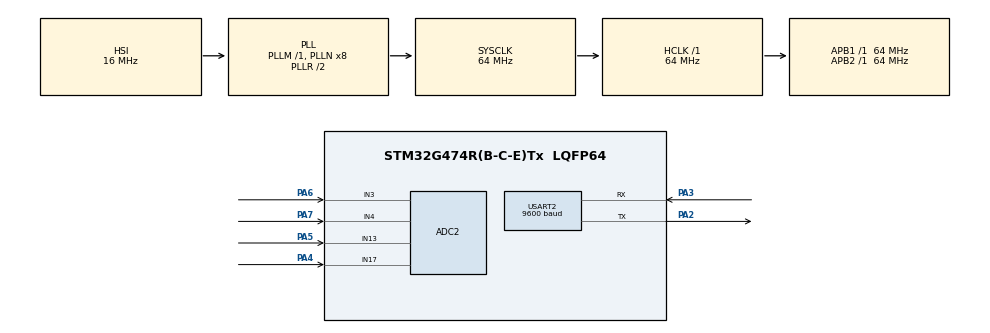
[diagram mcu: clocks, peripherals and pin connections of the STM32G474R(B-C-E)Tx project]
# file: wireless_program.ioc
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ADC2.Channel-0\#ChannelRegularConversion=ADC_CHANNEL_17
ADC2.Channel-1\#ChannelRegularConversion=ADC_CHANNEL_3
ADC2.Channel-2\#ChannelRegularConversion=ADC_CHANNEL_4
ADC2.Channel-3\#ChannelRegularConversion=ADC_CHANNEL_13
ADC2.EOCSelection=ADC_EOC_SEQ_CONV
ADC2.NbrOfConversion=4
ADC2.NbrOfConversionFlag=1
ADC2.OffsetNumber-0\#ChannelRegularConversion=ADC_OFFSET_NONE
ADC2.OffsetNumber-1\#ChannelRegularConversion=ADC_OFFSET_NONE
ADC2.OffsetNumber-2\#ChannelRegularConversion=ADC_OFFSET_NONE
ADC2.OffsetNumber-3\#ChannelRegularConversion=ADC_OFFSET_NONE
ADC2.Overrun=ADC_OVR_DATA_OVERWRITTEN
ADC2.Rank-0\#ChannelRegularConversion=1
ADC2.Rank-1\#ChannelRegularConversion=2
ADC2.Rank-2\#ChannelRegularConversion=3
ADC2.Rank-3\#ChannelRegularConversion=4
ADC2.SamplingTime-0\#ChannelRegularConversion=ADC_SAMPLETIME_2CYCLES_5
ADC2.SamplingTime-1\#ChannelRegularConversion=ADC_SAMPLETIME_2CYCLES_5
ADC2.SamplingTime-2\#ChannelRegularConversion=ADC_SAMPLETIME_2CYCLES_5
ADC2.SamplingTime-3\#ChannelRegularConversion=ADC_SAMPLETIME_2CYCLES_5
Dma.ADC2.0.Direction=DMA_PERIPH_TO_MEMORY
Dma.ADC2.0.EventEnable=DISABLE
Dma.ADC2.0.Instance=DMA1_Channel1
Dma.ADC2.0.MemDataAlignment=DMA_MDATAALIGN_HALFWORD
Dma.ADC2.0.MemInc=DMA_MINC_ENABLE
Dma.ADC2.0.Mode=DMA_NORMAL
Dma.ADC2.0.PeriphDataAlignment=DMA_PDATAALIGN_HALFWORD
Dma.ADC2.0.PeriphInc=DMA_PINC_DISABLE
Dma.ADC2.0.Polarity=HAL_DMAMUX_REQ_GEN_RISING
Dma.ADC2.0.Priority=DMA_PRIORITY_LOW
Dma.ADC2.0.RequestNumber=1
Dma.ADC2.0.SignalID=NONE
Dma.ADC2.0.SyncEnable=DISABLE
Dma.ADC2.0.SyncPolarity=HAL_DMAMUX_SYNC_NO_EVENT
Dma.ADC2.0.SyncRequestNumber=1
Dma.ADC2.0.SyncSignalID=NONE
Dma.Request0=ADC2
Mcu.Family=STM32G4
Mcu.Name=STM32G474R(B-C-E)Tx
Mcu.Package=LQFP64
NVIC.DMA1_Channel1_IRQn=true\:0\:0\:false\:false\:true\:false\:true\:true
NVIC.PriorityGroup=NVIC_PRIORITYGROUP_4
NVIC.USART2_IRQn=true\:0\:0\:false\:false\:true\:true\:true\:true
PA2.Mode=Asynchronous
PA2.Signal=USART2_TX
PA3.Mode=Asynchronous
PA3.Signal=USART2_RX
PA4.Mode=IN17-Single-Ended
PA4.Signal=ADC2_IN17
PA5.Mode=IN13-Single-Ended
PA5.Signal=ADC2_IN13
PA6.Mode=IN3-Single-Ended
PA6.Signal=ADC2_IN3
PA7.Mode=IN4-Single-Ended
PA7.Signal=ADC2_IN4
ProjectManager.HeapSize=0x200
ProjectManager.StackSize=0x400
ProjectManager.TargetToolchain=STM32CubeIDE
RCC.ADC12Freq_Value=64000000
RCC.ADC345Freq_Value=64000000
RCC.AHBFreq_Value=64000000
RCC.APB1Freq_Value=64000000
RCC.APB1TimFreq_Value=64000000
RCC.APB2Freq_Value=64000000
RCC.APB2TimFreq_Value=64000000
RCC.CortexFreq_Value=64000000
RCC.EXTERNAL_CLOCK_VALUE=12288000
RCC.HCLKFreq_Value=64000000
RCC.HSE_VALUE=8000000
RCC.HSI48_VALUE=48000000
RCC.HSI_VALUE=16000000
RCC.LSE_VALUE=32768
RCC.SYSCLKFreq_VALUE=64000000
RCC.SYSCLKSource=RCC_SYSCLKSOURCE_PLLCLK
RCC.USBFreq_Value=64000000
RCC.VCOOutputFreq_Value=128000000
USART2.BaudRate=9600
USART2.VirtualMode-Asynchronous=VM_ASYNC
VP_SYS_VS_DBSignals.Mode=DisableDeadBatterySignals
board=custom

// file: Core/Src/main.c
/* USER CODE BEGIN Header */
/**
  ******************************************************************************
  * @file           : main.c
  * @brief          : Main program body
  ******************************************************************************
  * @attention
  *
  * Copyright (c) 2025 STMicroelectronics.
  * All rights reserved.
  *
  * This software is licensed under terms that can be found in the LICENSE file
  * in the root directory of this software component.
  * If no LICENSE file comes with this software, it is provided AS-IS.
  *
  ******************************************************************************
  */
/* USER CODE END Header */
#include "main.h"

/* USER CODE BEGIN PTD */

uint16_t adc_val[4];
int h;
float temperature;
float Rt;
float Vout;
float voltage;
float R_thermistor;
float temperatureK;
float temperatureC;

#define VCC 3.3
#define R_PULL 10000.0
#define BETA 3435.0

#define T25 298.15
float beta_val=4304.05;
/* USER CODE END PTD */

/* USER CODE BEGIN PM */
float Temp;
float temp1_arr[2];
/* USER CODE END PM */

ADC_HandleTypeDef hadc2;
DMA_HandleTypeDef hdma_adc2;

UART_HandleTypeDef huart2;

void SystemClock_Config(void);
static void MX_GPIO_Init(void);
static void MX_DMA_Init(void);
static void MX_USART2_UART_Init(void);
static void MX_ADC2_Init(void);

/* USER CODE BEGIN 0 */
float getTemp(uint16_t a){
	float adc_val3;
 	float beta_val=4304.05;
	float Vin= 3.3;
	float Rs=4700.00;
	float R25=32762.00;

	  adc_val3 = a; // GET THE ADC VALUE
	  Vout = adc_val3 * (Vin/4095.00);     //4095 = 12 BIT RESOLUTION
	  Rt = (Vout * Rs) / (Vin - Vout);
	  temperature = (1/((1/298.15)+(log(Rt/R25)/beta_val))-272.5-3);

		return temperature;

}

/* USER CODE END 0 */

int main(void)
{SCB->VTOR = 0x08008000;

  /* MCU Configuration--------------------------------------------------------*/

  /* Reset of all peripherals, Initializes the Flash interface and the Systick. */
  HAL_Init();

  /* Configure the system clock */
  SystemClock_Config();

  /* Initialize all configured peripherals */
  MX_GPIO_Init();
  MX_DMA_Init();
  MX_USART2_UART_Init();
  MX_ADC2_Init();
  /* USER CODE BEGIN 2 */
  HAL_Delay(1000);
  /* USER CODE END 2 */

  /* Infinite loop */
  while (1)
  {

    /* USER CODE BEGIN 3 */

	    HAL_ADC_Stop_DMA(&hadc2);
	    HAL_ADC_Start_DMA(&hadc2, (uint32_t*)adc_val, 4);
	    Temp = getTemp(adc_val[0]);

	    char msg[32];
	    int len = snprintf(msg, sizeof(msg), "Temp: %.2f C\n", Temp);
	    HAL_UART_Transmit(&huart2, (uint8_t*)msg, len, HAL_MAX_DELAY);
	    h++;
	    HAL_Delay(1000); // 1 second delay
  }
  /* USER CODE END 3 */
}

void SystemClock_Config(void)
{

  RCC_OscInitTypeDef RCC_OscInitStruct = {0};
  RCC_ClkInitTypeDef RCC_ClkInitStruct = {0};

  /** Configure the main internal regulator output voltage
  */
  HAL_PWREx_ControlVoltageScaling(PWR_REGULATOR_VOLTAGE_SCALE1);

  /** Initializes the RCC Oscillators according to the specified parameters
  * in the RCC_OscInitTypeDef structure.
  */
  RCC_OscInitStruct.OscillatorType = RCC_OSCILLATORTYPE_HSI;
  RCC_OscInitStruct.HSIState = RCC_HSI_ON;
  RCC_OscInitStruct.HSICalibrationValue = RCC_HSICALIBRATION_DEFAULT;
  RCC_OscInitStruct.PLL.PLLState = RCC_PLL_ON;
  RCC_OscInitStruct.PLL.PLLSource = RCC_PLLSOURCE_HSI;
  RCC_OscInitStruct.PLL.PLLM = RCC_PLLM_DIV1;
  RCC_OscInitStruct.PLL.PLLN = 8;
  RCC_OscInitStruct.PLL.PLLP = RCC_PLLP_DIV2;
  RCC_OscInitStruct.PLL.PLLQ = RCC_PLLQ_DIV2;
  RCC_OscInitStruct.PLL.PLLR = RCC_PLLR_DIV2;
  if (HAL_RCC_OscConfig(&RCC_OscInitStruct) != HAL_OK)
  {
    Error_Handler();
  }

  /** Initializes the CPU, AHB and APB buses clocks
  */
  RCC_ClkInitStruct.ClockType = RCC_CLOCKTYPE_HCLK|RCC_CLOCKTYPE_SYSCLK
                              |RCC_CLOCKTYPE_PCLK1|RCC_CLOCKTYPE_PCLK2;
  RCC_ClkInitStruct.SYSCLKSource = RCC_SYSCLKSOURCE_PLLCLK;
  RCC_ClkInitStruct.AHBCLKDivider = RCC_SYSCLK_DIV1;
  RCC_ClkInitStruct.APB1CLKDivider = RCC_HCLK_DIV1;
  RCC_ClkInitStruct.APB2CLKDivider = RCC_HCLK_DIV1;

  if (HAL_RCC_ClockConfig(&RCC_ClkInitStruct, FLASH_LATENCY_2) != HAL_OK)
  {
    Error_Handler();
  }
}

static void MX_ADC2_Init(void)
{

  ADC_ChannelConfTypeDef sConfig = {0};

  /** Common config
  */
  hadc2.Instance = ADC2;
  hadc2.Init.ClockPrescaler = ADC_CLOCK_SYNC_PCLK_DIV2;
  hadc2.Init.Resolution = ADC_RESOLUTION_12B;
  hadc2.Init.DataAlign = ADC_DATAALIGN_RIGHT;
  hadc2.Init.GainCompensation = 0;
  hadc2.Init.ScanConvMode = ADC_SCAN_ENABLE;
  hadc2.Init.EOCSelection = ADC_EOC_SEQ_CONV;
  hadc2.Init.LowPowerAutoWait = DISABLE;
  hadc2.Init.ContinuousConvMode = DISABLE;
  hadc2.Init.NbrOfConversion = 4;
  hadc2.Init.DiscontinuousConvMode = DISABLE;
  hadc2.Init.ExternalTrigConv = ADC_SOFTWARE_START;
  hadc2.Init.ExternalTrigConvEdge = ADC_EXTERNALTRIGCONVEDGE_NONE;
  hadc2.Init.DMAContinuousRequests = DISABLE;
  hadc2.Init.Overrun = ADC_OVR_DATA_OVERWRITTEN;
  hadc2.Init.OversamplingMode = DISABLE;
  if (HAL_ADC_Init(&hadc2) != HAL_OK)
  {
    Error_Handler();
  }

  /** Configure Regular Channel
  */
  sConfig.Channel = ADC_CHANNEL_17;
  sConfig.Rank = ADC_REGULAR_RANK_1;
  sConfig.SamplingTime = ADC_SAMPLETIME_2CYCLES_5;
  sConfig.SingleDiff = ADC_SINGLE_ENDED;
  sConfig.OffsetNumber = ADC_OFFSET_NONE;
  sConfig.Offset = 0;
  if (HAL_ADC_ConfigChannel(&hadc2, &sConfig) != HAL_OK)
  {
    Error_Handler();
  }

  /** Configure Regular Channel
  */
  sConfig.Channel = ADC_CHANNEL_3;
  sConfig.Rank = ADC_REGULAR_RANK_2;
  if (HAL_ADC_ConfigChannel(&hadc2, &sConfig) != HAL_OK)
  {
    Error_Handler();
  }

  /** Configure Regular Channel
  */
  sConfig.Channel = ADC_CHANNEL_4;
  sConfig.Rank = ADC_REGULAR_RANK_3;
  if (HAL_ADC_ConfigChannel(&hadc2, &sConfig) != HAL_OK)
  {
    Error_Handler();
  }

  /** Configure Regular Channel
  */
  sConfig.Channel = ADC_CHANNEL_13;
  sConfig.Rank = ADC_REGULAR_RANK_4;
  if (HAL_ADC_ConfigChannel(&hadc2, &sConfig) != HAL_OK)
  {
    Error_Handler();
  }

}

static void MX_USART2_UART_Init(void)
{

  huart2.Instance = USART2;
  huart2.Init.BaudRate = 9600;
  huart2.Init.WordLength = UART_WORDLENGTH_8B;
  huart2.Init.StopBits = UART_STOPBITS_1;
  huart2.Init.Parity = UART_PARITY_NONE;
  huart2.Init.Mode = UART_MODE_TX_RX;
  huart2.Init.HwFlowCtl = UART_HWCONTROL_NONE;
  huart2.Init.OverSampling = UART_OVERSAMPLING_16;
  huart2.Init.OneBitSampling = UART_ONE_BIT_SAMPLE_DISABLE;
  huart2.Init.ClockPrescaler = UART_PRESCALER_DIV1;
  huart2.AdvancedInit.AdvFeatureInit = UART_ADVFEATURE_NO_INIT;
  if (HAL_UART_Init(&huart2) != HAL_OK)
  {
    Error_Handler();
  }
  if (HAL_UARTEx_SetTxFifoThreshold(&huart2, UART_TXFIFO_THRESHOLD_1_8) != HAL_OK)
  {
    Error_Handler();
  }
  if (HAL_UARTEx_SetRxFifoThreshold(&huart2, UART_RXFIFO_THRESHOLD_1_8) != HAL_OK)
  {
    Error_Handler();
  }
  if (HAL_UARTEx_DisableFifoMode(&huart2) != HAL_OK)
  {
    Error_Handler();
  }

}

static void MX_DMA_Init(void)
{

  /* DMA controller clock enable */
  __HAL_RCC_DMAMUX1_CLK_ENABLE();
  __HAL_RCC_DMA1_CLK_ENABLE();

  /* DMA interrupt init */
  /* DMA1_Channel1_IRQn interrupt configuration */
  HAL_NVIC_SetPriority(DMA1_Channel1_IRQn, 0, 0);
  HAL_NVIC_EnableIRQ(DMA1_Channel1_IRQn);

}

static void MX_GPIO_Init(void)
{

  /* GPIO Ports Clock Enable */
  __HAL_RCC_GPIOA_CLK_ENABLE();

}

void Error_Handler(void)
{
  __disable_irq();
  while (1)
  {
  }
}
